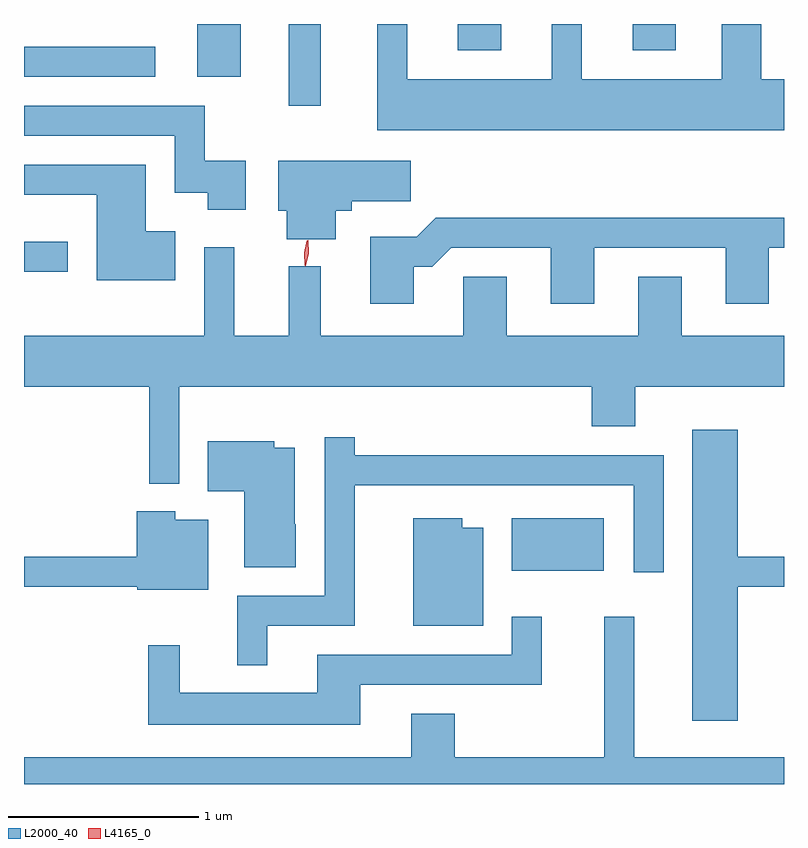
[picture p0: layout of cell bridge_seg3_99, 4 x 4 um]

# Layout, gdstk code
import gdstk
lib = gdstk.Library(unit=1e-6, precision=1e-09)
def R(c, l, rs):  # rectangles x0, y0, x1, y1
    for r in rs: c.add(gdstk.rectangle(r[:2], r[2:], *l))
def P(c, l, *ps):  # polygons
    for p in ps: c.add(gdstk.Polygon(p, *l))
L2000_40 = (2000, 40)
L4165_0 = (4165, 0)

bridge_seg3_99 = lib.new_cell('bridge_seg3_99')
R(bridge_seg3_99, L2000_40, [(950.236,1244.926,950.719,1245.204), (947.668,1246.501,947.898,1246.659), (949.061,1247.373,949.229,1247.804), (947.668,1247.526,948.358,1247.684), (948.581,1247.526,948.809,1247.804), (949.951,1247.666,950.179,1247.804), (950.871,1247.666,951.099,1247.804)])
P(bridge_seg3_99, L2000_40, [(951.668,1247.514),(951.549,1247.514),(951.549,1247.804),(951.341,1247.804),(951.341,1247.514),(950.604,1247.514),(950.604,1247.804),(950.446,1247.804),(950.446,1247.514),(949.684,1247.514),(949.684,1247.804),(949.526,1247.804),(949.526,1247.246),(951.668,1247.246)],
  [(948.834,1247.084),(948.619,1247.084),(948.619,1247.374),(947.668,1247.374),(947.668,1247.216),(948.461,1247.216),(948.461,1246.916),(948.636,1246.916),(948.636,1246.826),(948.834,1246.826)],
  [(949.309,1246.821),(949.394,1246.821),(949.394,1246.871),(949.704,1246.871),(949.704,1247.084),(949.006,1247.084),(949.006,1246.821),(949.051,1246.821),(949.051,1246.671),(949.309,1246.671)],
  [(948.464,1246.714),(948.309,1246.714),(948.309,1247.064),(947.668,1247.064),(947.668,1246.906),(948.051,1246.906),(948.051,1246.456),(948.464,1246.456)],
  [(949.719,1246.526),(949.817,1246.526),(949.917,1246.626),(950.441,1246.626),(950.441,1246.331),(950.669,1246.331),(950.669,1246.626),(951.361,1246.626),(951.361,1246.331),(951.589,1246.331),(951.589,1246.626),(951.668,1246.626),(951.668,1246.784),(949.834,1246.784),(949.734,1246.684),(949.491,1246.684),(949.491,1246.331),(949.719,1246.331)],
  [(948.484,1245.896),(950.656,1245.896),(950.656,1245.686),(950.884,1245.686),(950.884,1245.896),(951.668,1245.896),(951.668,1246.164),(951.129,1246.164),(951.129,1246.474),(950.901,1246.474),(950.901,1246.164),(950.209,1246.164),(950.209,1246.474),(949.981,1246.474),(949.981,1246.164),(949.229,1246.164),(949.229,1246.528),(949.061,1246.528),(949.061,1246.164),(948.774,1246.164),(948.774,1246.628),(948.616,1246.628),(948.616,1246.164),(947.668,1246.164),(947.668,1245.896),(948.326,1245.896),(948.326,1245.383),(948.484,1245.383)],
  [(951.424,1244.841),(951.668,1244.841),(951.668,1244.999),(951.424,1244.999),(951.424,1245.669),(951.186,1245.669),(951.186,1244.136),(951.424,1244.136)],
  [(948.949,1244.636),(949.409,1244.636),(949.409,1245.376),(950.876,1245.376),(950.876,1244.918),(951.034,1244.918),(951.034,1245.534),(949.409,1245.534),(949.409,1245.628),(949.251,1245.628),(949.251,1244.794),(948.791,1244.794),(948.791,1244.428),(948.949,1244.428)],
  [(949.099,1245.17),(949.094,1245.17),(949.094,1245.574),(948.984,1245.574),(948.984,1245.609),(948.636,1245.609),(948.636,1245.346),(948.826,1245.346),(948.826,1244.946),(949.099,1244.946)],
  [(948.639,1245.194),(948.464,1245.194),(948.464,1245.239),(948.261,1245.239),(948.261,1244.999),(947.668,1244.999),(947.668,1244.841),(948.265,1244.841),(948.265,1244.826),(948.639,1244.826)],
  [(950.084,1245.154),(949.974,1245.154),(949.974,1245.204),(949.716,1245.204),(949.716,1244.636),(950.084,1244.636)],
  [(949.439,1244.326),(950.394,1244.326),(950.394,1244.683),(950.236,1244.683),(950.236,1244.484),(949.211,1244.484),(949.211,1244.284),(948.489,1244.284),(948.489,1244.533),(948.321,1244.533),(948.321,1244.116),(949.439,1244.116)],
  [(951.668,1243.944),(950.879,1243.944),(950.879,1244.683),(950.721,1244.683),(950.721,1243.944),(949.934,1243.944),(949.934,1244.174),(949.706,1244.174),(949.706,1243.944),(947.668,1243.944),(947.668,1243.804),(951.668,1243.804)])
P(bridge_seg3_99, L4165_0, [(949.149,1246.53),(949.149,1246.531),(949.146,1246.599),(949.162,1246.666),(949.162,1246.666),(949.163,1246.666),(949.166,1246.597),(949.15,1246.531)],
  [(949.146,1246.534),(949.142,1246.599),(949.157,1246.662),(949.158,1246.662),(949.158,1246.662),(949.162,1246.597),(949.147,1246.534),(949.147,1246.534)])

lib.write_gds('bridge_seg3_99.gds')
